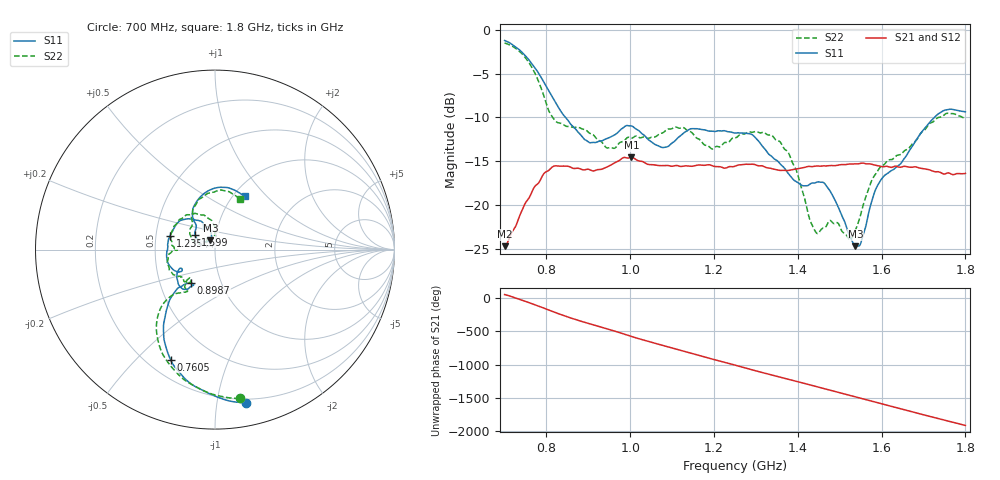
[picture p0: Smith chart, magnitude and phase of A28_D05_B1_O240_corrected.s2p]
! Created with skrf 1.9.0 (http://scikit-rf.org).
# Hz S RI R 50.0
!freq ReS11 ImS11 ReS21 ImS21 ReS12 ImS12 ReS22 ImS22
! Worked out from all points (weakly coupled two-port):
!   1601 points, 700 MHz to 1.8 GHz, reference 50 ohm
!   highest |S21| = -14.55 dB at 1.002 GHz (marker M1); lowest = -24.7 dB at 700 MHz (marker M2)
!   lowest |S11| = -24.7 dB at 1.537 GHz (marker M3), VSWR 1.12, Z = 47.2 + j4.95 ohm
!   |S11| at or under -10 dB: 845.4 MHz to 1.726 GHz (880.4 MHz wide, 68.5 % of centre)
!   |S22| runs from -24.0 to -1.5 dB; largest |S21 - S12| = 0.0034
!   S11 on the Smith chart (normalised r, x): 700 MHz: 0.17, -1.20; 760.5 MHz: 0.29, -0.63; 898.7 MHz: 0.72, -0.28; 1.235 GHz: 0.59, +0.10; 1.599 GHz: 0.79, +0.13; 1.8 GHz: 1.12, +0.76
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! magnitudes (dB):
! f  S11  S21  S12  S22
! 700 MHz  -1.2  -24.7  -24.5  -1.5
! 760.5 MHz  -3.6  -19.0  -18.9  -3.9
! 818.2 MHz  -8.0  -15.6  -15.7  -10.2
! 883.6 MHz  -12.1  -15.9  -15.8  -11.3
! 898.7 MHz  -12.8  -15.9  -16.0  -11.6
! 946.8 MHz  -12.4  -15.6  -15.6  -13.5
! 1.002 GHz  -11.0  -14.6  -14.7  -12.4
! 1.067 GHz  -13.3  -15.5  -15.4  -12.0
! 1.145 GHz  -11.3  -15.6  -15.6  -11.7
! 1.194 GHz  -11.6  -15.5  -15.4  -13.6
! 1.235 GHz  -11.6  -15.6  -15.7  -12.8
! 1.25 GHz  -11.8  -15.6  -15.5  -12.3
! 1.358 GHz  -15.3  -16.1  -16.0  -12.8
! 1.396 GHz  -17.3  -15.9  -15.9  -15.9
! 1.434 GHz  -17.5  -15.6  -15.6  -22.3
! 1.473 GHz  -18.2  -15.5  -15.5  -21.9
! 1.537 GHz  -24.7  -15.3  -15.3  -22.9
! 1.551 GHz  -24.2  -15.2  -15.3  -20.9
! 1.599 GHz  -17.1  -15.6  -15.6  -15.6
! 1.617 GHz  -16.3  -15.6  -15.6  -14.8
! 1.734 GHz  -9.6  -16.2  -16.3  -10.0
! 1.8 GHz  -9.4  -16.4  -16.4  -10.1
